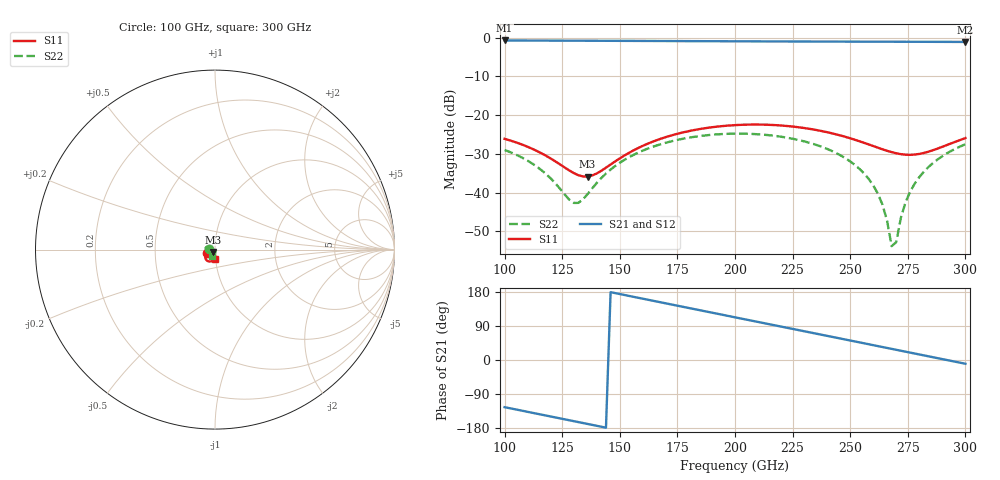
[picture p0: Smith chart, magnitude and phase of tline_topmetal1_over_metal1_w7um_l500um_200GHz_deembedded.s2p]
! Created with skrf 2.0.1 (http://scikit-rf.org).
# GHz S DB R 50.0
!freq dBS11 angS11 dBS21 angS21 dBS12 angS12 dBS22 angS22
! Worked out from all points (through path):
!   101 points, 100 GHz to 300 GHz, reference 50 ohm
!   highest |S21| = -0.69 dB at 100 GHz (marker M1); lowest = -1.1 dB at 300 GHz (marker M2)
!   group delay of S21, straight-line fit = 3.41 ps
!   lowest |S11| = -35.9 dB at 136 GHz (marker M3), VSWR 1.03, Z = 49 - j1.28 ohm
!   |S11| at or under -10 dB: start of sweep to end of sweep
!   |S22| runs from -53.8 to -24.8 dB; largest |S21 - S12| = 1.1e-14
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100  -26.11 -159.4  -0.69 -124.5  -0.69 -124.5  -28.99 176.6
116  -29.85 -167.5  -0.73 -144.2  -0.73 -144.2  -34.21 162.9
130  -34.95 -149.6  -0.76 -161.4  -0.76 -161.4  -42.67 -158.9
134  -35.83 -134.5  -0.76 -166.3  -0.76 -166.3  -41.77 -127.7
136  -35.86 -125.9  -0.77 -168.7  -0.77 -168.7  -40.39 -117.2
150  -31.16 -91.3  -0.80 174.0  -0.80 174.0  -32.30 -105.0
168  -26.04 -93.9  -0.84 151.9  -0.84 151.9  -27.46 -122.5
184  -23.66 -105.4  -0.87 132.3  -0.87 132.3  -25.45 -142.3
200  -22.57 -118.8  -0.91 112.7  -0.91 112.7  -24.77 -163.2
216  -22.53 -131.9  -0.94 93.1  -0.94 93.1  -25.25 175.4
234  -23.69 -144.5  -0.97 71.0  -0.97 71.0  -27.44 150.8
248  -25.62 -149.9  -0.99 53.9  -0.99 53.9  -31.15 130.8
258  -27.55 -148.3  -1.01 41.6  -1.01 41.6  -36.45 114.5
264  -28.81 -143.3  -1.02 34.3  -1.02 34.3  -43.11 99.1
266  -29.20 -140.8  -1.02 31.8  -1.02 31.8  -47.26 87.8
268  -29.55 -137.8  -1.02 29.4  -1.02 29.4  -53.85 53.7
270  -29.85 -134.3  -1.03 26.9  -1.03 26.9  -52.79 -30.2
272  -30.07 -130.4  -1.03 24.4  -1.03 24.4  -46.49 -58.1
274  -30.21 -126.3  -1.03 22.0  -1.03 22.0  -42.54 -68.3
280  -30.01 -113.4  -1.04 14.6  -1.04 14.6  -36.00 -83.2
288  -28.61 -100.3  -1.06 4.8  -1.06 4.8  -31.42 -96.5
300  -25.93 -93.2  -1.08 -9.9  -1.08 -9.9  -27.52 -114.1
